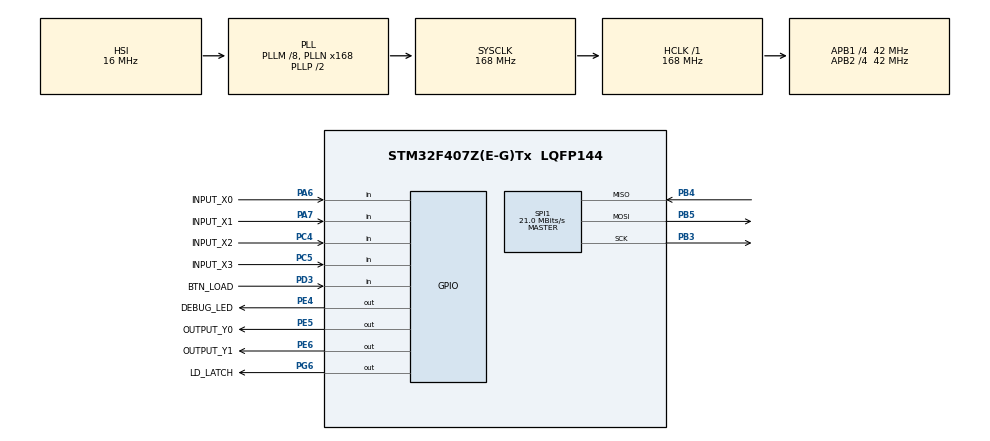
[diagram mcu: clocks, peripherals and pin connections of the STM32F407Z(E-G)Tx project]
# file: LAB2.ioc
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Mcu.Family=STM32F4
Mcu.Name=STM32F407Z(E-G)Tx
Mcu.Package=LQFP144
NVIC.PriorityGroup=NVIC_PRIORITYGROUP_4
NVIC.TIM2_IRQn=true\:0\:0\:false\:false\:true\:true\:true
PA13.Mode=Serial_Wire
PA13.Signal=SYS_JTMS-SWDIO
PA14.Mode=Serial_Wire
PA14.Signal=SYS_JTCK-SWCLK
PA6.GPIO_Label=INPUT_X0
PA6.Signal=GPIO_Input
PA7.GPIO_Label=INPUT_X1
PA7.Signal=GPIO_Input
PB3.Mode=Full_Duplex_Master
PB3.Signal=SPI1_SCK
PB4.Mode=Full_Duplex_Master
PB4.Signal=SPI1_MISO
PB5.Mode=Full_Duplex_Master
PB5.Signal=SPI1_MOSI
PC4.GPIO_Label=INPUT_X2
PC4.Signal=GPIO_Input
PC5.GPIO_Label=INPUT_X3
PC5.Signal=GPIO_Input
PD3.GPIO_Label=BTN_LOAD
PD3.Signal=GPIO_Input
PE4.GPIO_Label=DEBUG_LED
PE4.Signal=GPIO_Output
PE5.GPIO_Label=OUTPUT_Y0
PE5.Signal=GPIO_Output
PE6.GPIO_Label=OUTPUT_Y1
PE6.Signal=GPIO_Output
PG6.GPIO_Label=LD_LATCH
PG6.Signal=GPIO_Output
PH0-OSC_IN.Mode=HSE-External-Oscillator
PH0-OSC_IN.Signal=RCC_OSC_IN
PH1-OSC_OUT.Mode=HSE-External-Oscillator
PH1-OSC_OUT.Signal=RCC_OSC_OUT
ProjectManager.HeapSize=0x200
ProjectManager.StackSize=0x400
ProjectManager.TargetToolchain=STM32CubeIDE
RCC.48MHZClocksFreq_Value=84000000
RCC.AHBFreq_Value=168000000
RCC.APB1CLKDivider=RCC_HCLK_DIV4
RCC.APB1Freq_Value=42000000
RCC.APB1TimFreq_Value=84000000
RCC.APB2CLKDivider=RCC_HCLK_DIV4
RCC.APB2Freq_Value=42000000
RCC.APB2TimFreq_Value=84000000
RCC.CortexFreq_Value=168000000
RCC.HCLKFreq_Value=168000000
RCC.HSE_VALUE=8000000
RCC.HSI_VALUE=16000000
RCC.LSE_VALUE=32768
RCC.PLLM=8
RCC.PLLN=168
RCC.SYSCLKFreq_VALUE=168000000
RCC.SYSCLKSource=RCC_SYSCLKSOURCE_PLLCLK
RCC.VCOOutputFreq_Value=336000000
SPI1.CalculateBaudRate=21.0 MBits/s
SPI1.Direction=SPI_DIRECTION_2LINES
SPI1.Mode=SPI_MODE_MASTER
SPI1.VirtualType=VM_MASTER
TIM2.Period=100-1
TIM2.Prescaler=840-1
VP_TIM2_VS_ClockSourceINT.Mode=Internal
board=custom

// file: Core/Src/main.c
/* USER CODE BEGIN Header */
/**
  ******************************************************************************
  * @file           : main.c
  * @brief          : Main program body
  ******************************************************************************
  * @attention
  *
  * <h2><center>&copy; Copyright (c) 2024 STMicroelectronics.
  * All rights reserved.</center></h2>
  *
  * This software component is licensed by ST under BSD 3-Clause license,
  * the "License"; You may not use this file except in compliance with the
  * License. You may obtain a copy of the License at:
  *                        opensource.org/licenses/BSD-3-Clause
  *
  ******************************************************************************
  */
/* USER CODE END Header */
#include "main.h"
#include "spi.h"
#include "tim.h"
//#include "gpio.h"

/* USER CODE BEGIN Includes */
#include "software_timer.h"
#include "led_7seg.h"
/* USER CODE END Includes */

SPI_HandleTypeDef hspi1;

TIM_HandleTypeDef htim2;

void SystemClock_Config(void);
static void MX_GPIO_Init(void);
//static void MX_SPI1_Init(void);
//static void MX_TIM2_Init(void);
/* USER CODE BEGIN PFP */
void system_init();
void FlashLedDebug();
void FlashLedY0();
void FlashLedY1();
void Traffic();
void test_7seg();
void realTime();
void shiftNum();
/* USER CODE END PFP */

int main(void)
{

  /* MCU Configuration--------------------------------------------------------*/

  /* Reset of all peripherals, Initializes the Flash interface and the Systick. */
  HAL_Init();

  /* Configure the system clock */
  SystemClock_Config();

  /* Initialize all configured peripherals */
  MX_GPIO_Init();
  MX_SPI1_Init();
  MX_TIM2_Init();
  /* USER CODE BEGIN 2 */
  system_init();
  led7_SetColon(1);
  /* USER CODE END 2 */

  /* Infinite loop */
  /* USER CODE BEGIN WHILE */
  while (1)
  {
//	  HAL_GPIO_TogglePin(DEBUG_LED_GPIO_Port, DEBUG_LED_Pin);
//	  HAL_Delay(2000);
	  while(!flag_timer2);
	  flag_timer2 = 0;
	  // main task, every 50ms
//	  FlashLedDebug();
//	  FlashLedY0();
//	  FlashLedY1();
//	  Traffic();
//	  test_7seg();
//	  realTime();
	  shiftNum();
//	  led7_Scan();

    /* USER CODE END WHILE */

  }
}

void SystemClock_Config(void)
{
  RCC_OscInitTypeDef RCC_OscInitStruct = {0};
  RCC_ClkInitTypeDef RCC_ClkInitStruct = {0};

  /** Configure the main internal regulator output voltage
  */
  __HAL_RCC_PWR_CLK_ENABLE();
  __HAL_PWR_VOLTAGESCALING_CONFIG(PWR_REGULATOR_VOLTAGE_SCALE1);
  /** Initializes the RCC Oscillators according to the specified parameters
  * in the RCC_OscInitTypeDef structure.
  */
  RCC_OscInitStruct.OscillatorType = RCC_OSCILLATORTYPE_HSI;
  RCC_OscInitStruct.HSIState = RCC_HSI_ON;
  RCC_OscInitStruct.HSICalibrationValue = RCC_HSICALIBRATION_DEFAULT;
  RCC_OscInitStruct.PLL.PLLState = RCC_PLL_ON;
  RCC_OscInitStruct.PLL.PLLSource = RCC_PLLSOURCE_HSI;
  RCC_OscInitStruct.PLL.PLLM = 8;
  RCC_OscInitStruct.PLL.PLLN = 168;
  RCC_OscInitStruct.PLL.PLLP = RCC_PLLP_DIV2;
  RCC_OscInitStruct.PLL.PLLQ = 4;
  if (HAL_RCC_OscConfig(&RCC_OscInitStruct) != HAL_OK)
  {
    Error_Handler();
  }
  /** Initializes the CPU, AHB and APB buses clocks
  */
  RCC_ClkInitStruct.ClockType = RCC_CLOCKTYPE_HCLK|RCC_CLOCKTYPE_SYSCLK
                              |RCC_CLOCKTYPE_PCLK1|RCC_CLOCKTYPE_PCLK2;
  RCC_ClkInitStruct.SYSCLKSource = RCC_SYSCLKSOURCE_PLLCLK;
  RCC_ClkInitStruct.AHBCLKDivider = RCC_SYSCLK_DIV1;
  RCC_ClkInitStruct.APB1CLKDivider = RCC_HCLK_DIV4;
  RCC_ClkInitStruct.APB2CLKDivider = RCC_HCLK_DIV4;

  if (HAL_RCC_ClockConfig(&RCC_ClkInitStruct, FLASH_LATENCY_5) != HAL_OK)
  {
    Error_Handler();
  }
}

//static void MX_SPI1_Init(void)
//{
//
//  /* USER CODE BEGIN SPI1_Init 0 */
//
//  /* USER CODE END SPI1_Init 0 */
//
//  /* USER CODE BEGIN SPI1_Init 1 */
//
//  /* USER CODE END SPI1_Init 1 */
//  /* SPI1 parameter configuration*/
//  hspi1.Instance = SPI1;
//  hspi1.Init.Mode = SPI_MODE_MASTER;
//  hspi1.Init.Direction = SPI_DIRECTION_2LINES;
//  hspi1.Init.DataSize = SPI_DATASIZE_8BIT;
//  hspi1.Init.CLKPolarity = SPI_POLARITY_LOW;
//  hspi1.Init.CLKPhase = SPI_PHASE_1EDGE;
//  hspi1.Init.NSS = SPI_NSS_SOFT;
//  hspi1.Init.BaudRatePrescaler = SPI_BAUDRATEPRESCALER_2;
//  hspi1.Init.FirstBit = SPI_FIRSTBIT_MSB;
//  hspi1.Init.TIMode = SPI_TIMODE_DISABLE;
//  hspi1.Init.CRCCalculation = SPI_CRCCALCULATION_DISABLE;
//  hspi1.Init.CRCPolynomial = 10;
//  if (HAL_SPI_Init(&hspi1) != HAL_OK)
//  {
//    Error_Handler();
//  }
//  /* USER CODE BEGIN SPI1_Init 2 */
//
//  /* USER CODE END SPI1_Init 2 */
//
//}

//static void MX_TIM2_Init(void)
//{
//
//  /* USER CODE BEGIN TIM2_Init 0 */
//
//  /* USER CODE END TIM2_Init 0 */
//
//  TIM_ClockConfigTypeDef sClockSourceConfig = {0};
//  TIM_MasterConfigTypeDef sMasterConfig = {0};
//
//  /* USER CODE BEGIN TIM2_Init 1 */
//
//  /* USER CODE END TIM2_Init 1 */
//  htim2.Instance = TIM2;
//  htim2.Init.Prescaler = 840-1;
//  htim2.Init.CounterMode = TIM_COUNTERMODE_UP;
//  htim2.Init.Period = 100-1;
//  htim2.Init.ClockDivision = TIM_CLOCKDIVISION_DIV1;
//  htim2.Init.AutoReloadPreload = TIM_AUTORELOAD_PRELOAD_DISABLE;
//  if (HAL_TIM_Base_Init(&htim2) != HAL_OK)
//  {
//    Error_Handler();
//  }
//  sClockSourceConfig.ClockSource = TIM_CLOCKSOURCE_INTERNAL;
//  if (HAL_TIM_ConfigClockSource(&htim2, &sClockSourceConfig) != HAL_OK)
//  {
//    Error_Handler();
//  }
//  sMasterConfig.MasterOutputTrigger = TIM_TRGO_RESET;
//  sMasterConfig.MasterSlaveMode = TIM_MASTERSLAVEMODE_DISABLE;
//  if (HAL_TIMEx_MasterConfigSynchronization(&htim2, &sMasterConfig) != HAL_OK)
//  {
//    Error_Handler();
//  }
//  /* USER CODE BEGIN TIM2_Init 2 */
//
//  /* USER CODE END TIM2_Init 2 */
//
//}

static void MX_GPIO_Init(void)
{
  GPIO_InitTypeDef GPIO_InitStruct = {0};

  /* GPIO Ports Clock Enable */
  __HAL_RCC_GPIOE_CLK_ENABLE();
  __HAL_RCC_GPIOH_CLK_ENABLE();
  __HAL_RCC_GPIOA_CLK_ENABLE();
  __HAL_RCC_GPIOC_CLK_ENABLE();
  __HAL_RCC_GPIOG_CLK_ENABLE();
  __HAL_RCC_GPIOD_CLK_ENABLE();
  __HAL_RCC_GPIOB_CLK_ENABLE();

  /*Configure GPIO pin Output Level */
  HAL_GPIO_WritePin(GPIOE, DEBUG_LED_Pin|OUTPUT_Y0_Pin|OUTPUT_Y1_Pin, GPIO_PIN_RESET);

  /*Configure GPIO pin Output Level */
  HAL_GPIO_WritePin(LD_LATCH_GPIO_Port, LD_LATCH_Pin, GPIO_PIN_RESET);

  /*Configure GPIO pins : DEBUG_LED_Pin OUTPUT_Y0_Pin OUTPUT_Y1_Pin */
  GPIO_InitStruct.Pin = DEBUG_LED_Pin|OUTPUT_Y0_Pin|OUTPUT_Y1_Pin;
  GPIO_InitStruct.Mode = GPIO_MODE_OUTPUT_PP;
  GPIO_InitStruct.Pull = GPIO_NOPULL;
  GPIO_InitStruct.Speed = GPIO_SPEED_FREQ_LOW;
  HAL_GPIO_Init(GPIOE, &GPIO_InitStruct);

  /*Configure GPIO pins : INPUT_X0_Pin INPUT_X1_Pin */
  GPIO_InitStruct.Pin = INPUT_X0_Pin|INPUT_X1_Pin;
  GPIO_InitStruct.Mode = GPIO_MODE_INPUT;
  GPIO_InitStruct.Pull = GPIO_NOPULL;
  HAL_GPIO_Init(GPIOA, &GPIO_InitStruct);

  /*Configure GPIO pins : INPUT_X2_Pin INPUT_X3_Pin */
  GPIO_InitStruct.Pin = INPUT_X2_Pin|INPUT_X3_Pin;
  GPIO_InitStruct.Mode = GPIO_MODE_INPUT;
  GPIO_InitStruct.Pull = GPIO_NOPULL;
  HAL_GPIO_Init(GPIOC, &GPIO_InitStruct);

  /*Configure GPIO pin : LD_LATCH_Pin */
  GPIO_InitStruct.Pin = LD_LATCH_Pin;
  GPIO_InitStruct.Mode = GPIO_MODE_OUTPUT_PP;
  GPIO_InitStruct.Pull = GPIO_NOPULL;
  GPIO_InitStruct.Speed = GPIO_SPEED_FREQ_LOW;
  HAL_GPIO_Init(LD_LATCH_GPIO_Port, &GPIO_InitStruct);

  /*Configure GPIO pin : BTN_LOAD_Pin */
  GPIO_InitStruct.Pin = BTN_LOAD_Pin;
  GPIO_InitStruct.Mode = GPIO_MODE_INPUT;
  GPIO_InitStruct.Pull = GPIO_NOPULL;
  HAL_GPIO_Init(BTN_LOAD_GPIO_Port, &GPIO_InitStruct);

}

/* USER CODE BEGIN 4 */
void system_init(){
	  HAL_GPIO_WritePin(OUTPUT_Y0_GPIO_Port, OUTPUT_Y0_Pin, 0);
	  HAL_GPIO_WritePin(OUTPUT_Y1_GPIO_Port, OUTPUT_Y1_Pin, 0);
	  HAL_GPIO_WritePin(DEBUG_LED_GPIO_Port, DEBUG_LED_Pin, 0);
	  timer_init();
	  led7_init();

	  setTimer2(10000);
}

uint8_t count_led_debug = 0;
uint8_t count_led_Y0 = 0;
uint8_t count_led_Y1 = 0;
uint8_t count_traffic = 0;

void FlashLedDebug(){
	count_led_debug = (count_led_debug + 1)%40;
	if(count_led_debug == 0) {
		HAL_GPIO_TogglePin(DEBUG_LED_GPIO_Port, DEBUG_LED_Pin);
	}
}

void FlashLedY0(){
	count_led_Y0 = (count_led_Y0 + 1)%120;
	if(count_led_Y0 > 40) {
		HAL_GPIO_WritePin(OUTPUT_Y0_GPIO_Port, OUTPUT_Y0_Pin, 0);
	} else {
		HAL_GPIO_WritePin(OUTPUT_Y0_GPIO_Port, OUTPUT_Y0_Pin, 1);
	}
}

void FlashLedY1() {
	count_led_Y1 = (count_led_Y1+ 1)%120;
	if(count_led_Y1 > 100){
		HAL_GPIO_WritePin(OUTPUT_Y1_GPIO_Port, OUTPUT_Y1_Pin, 0);
	} else {
		HAL_GPIO_WritePin(OUTPUT_Y1_GPIO_Port, OUTPUT_Y1_Pin, 1);
	}
}

void Traffic(){
	count_traffic = (count_traffic + 1)%180;
	if(count_traffic < 60) {
		HAL_GPIO_WritePin(OUTPUT_Y0_GPIO_Port, OUTPUT_Y0_Pin, 1);
		HAL_GPIO_WritePin(OUTPUT_Y1_GPIO_Port, OUTPUT_Y1_Pin, 0);
	} else if (count_traffic < 80) {
		HAL_GPIO_WritePin(DEBUG_LED_GPIO_Port, DEBUG_LED_Pin, 1);
		HAL_GPIO_WritePin(OUTPUT_Y0_GPIO_Port, OUTPUT_Y0_Pin, 0);
	} else {
		HAL_GPIO_WritePin(OUTPUT_Y1_GPIO_Port, OUTPUT_Y1_Pin, 1);
		HAL_GPIO_WritePin(DEBUG_LED_GPIO_Port, DEBUG_LED_Pin, 0);
	}
}

void test_7seg(){
	//write number1 at led index 0 (not show dot)
	led7_SetDigit(1, 0, 0);
	led7_SetDigit(5, 1, 0);
	led7_SetDigit(4, 2, 0);
	led7_SetDigit(7, 3, 0);
}

int second = 40;
int minute = 58;
int hour = 23;
int count = 0;

void realTime() {
	count = (count + 1) % 20;
	if (count == 0) {
		second++;
		if (second == 60) {
			second = 0;
			minute++;
			if (minute == 60) {
				minute = 0;
				hour++;
				if (hour == 24) {
					hour = 0;
				}
			}
		}
	}

	led7_SetDigit(hour/10, 0, 0);
	led7_SetDigit(hour%10, 1, 0);
	led7_SetDigit(minute/10, 2, 0);
	led7_SetDigit(minute%10, 3, 0);

	if (count > 10) led7_SetColon(1);
	else led7_SetColon(0);
}

uint8_t a = 1;
uint8_t b = 2;
uint8_t c = 3;
uint8_t d = 4;
void shiftNum() {
	uint8_t temp = d;
	led7_SetDigit(a, 0, 0);
	led7_SetDigit(b, 1, 0);
	led7_SetDigit(c, 2, 0);
	led7_SetDigit(d, 3, 0);
	d = c;
	c = b;
	b = a;
	a = temp;
}
/* USER CODE END 4 */

void Error_Handler(void)
{
  __disable_irq();
  while (1)
  {
  }
}

/************************ (C) COPYRIGHT STMicroelectronics *****END OF FILE****/
